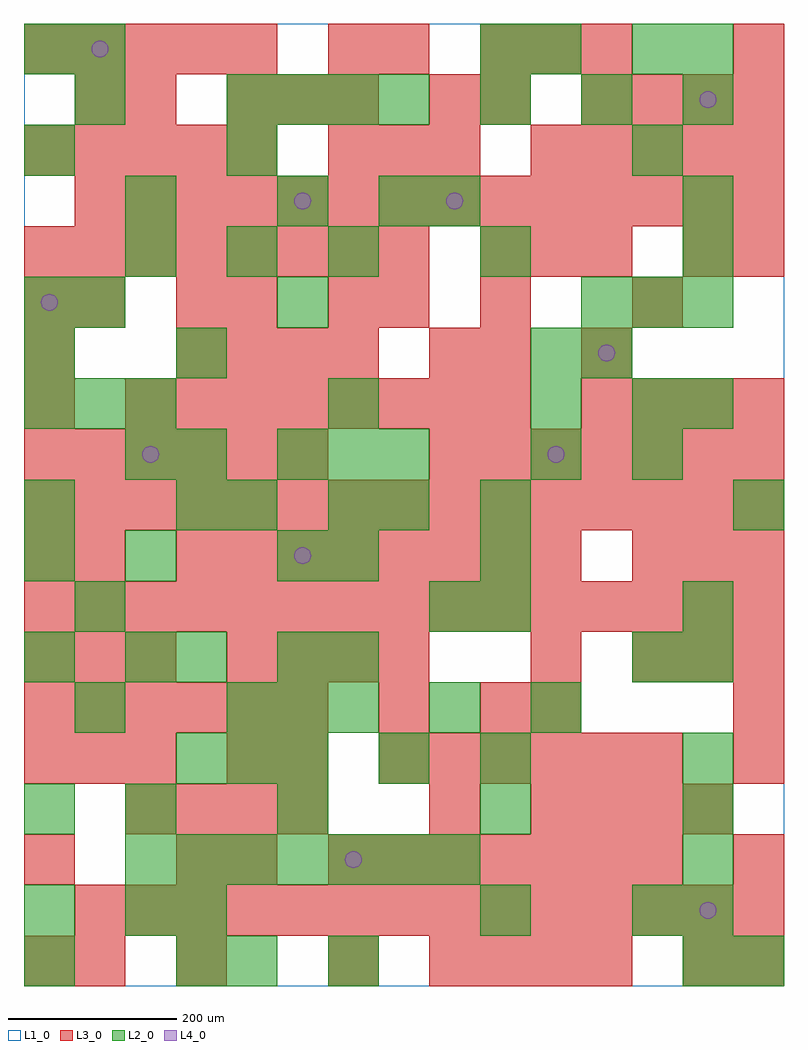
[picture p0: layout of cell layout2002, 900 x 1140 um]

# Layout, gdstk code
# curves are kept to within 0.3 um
import gdstk
lib = gdstk.Library(unit=1e-6, precision=1e-09)
def R(c, l, rs):  # rectangles x0, y0, x1, y1
    for r in rs: c.add(gdstk.rectangle(r[:2], r[2:], *l))
def A(c, l, x, y, w, h, nx, ny, dx, dy):  # array of equal rectangles
    R(c, l, [(x+i*dx, y+j*dy, x+i*dx+w, y+j*dy+h) for i in range(nx) for j in range(ny)])
def P(c, l, *ps):  # polygons
    for p in ps: c.add(gdstk.Polygon(p, *l))
L1_0 = (1, 0)
L2_0 = (2, 0)
L3_0 = (3, 0)
L4_0 = (4, 0)

layout2002 = lib.new_cell('layout2002')
R(layout2002, L1_0, [(0,0,900,1140)])
A(layout2002, L2_0, 780, 0, 60, 60, 1, 3, 0, 60)
A(layout2002, L2_0, 540, 60, 60, 60, 1, 3, 0, 180)
A(layout2002, L2_0, 120, 120, 60, 60, 7, 1, 60, 0)
A(layout2002, L2_0, 300, 180, 60, 60, 3, 1, 240, 0)
A(layout2002, L2_0, 180, 240, 60, 60, 3, 1, 60, 0)
A(layout2002, L2_0, 240, 300, 60, 60, 3, 1, 60, 0)
A(layout2002, L2_0, 120, 360, 60, 60, 1, 3, 0, 120)
A(layout2002, L2_0, 300, 600, 60, 60, 3, 1, 60, 0)
A(layout2002, L2_0, 600, 600, 60, 60, 1, 3, 0, 60)
A(layout2002, L2_0, 0, 660, 60, 60, 3, 1, 60, 0)
A(layout2002, L2_0, 660, 780, 60, 60, 3, 1, 60, 0)
A(layout2002, L2_0, 120, 840, 60, 60, 3, 1, 120, 0)
A(layout2002, L2_0, 240, 1020, 60, 60, 4, 1, 60, 0)
A(layout2002, L2_0, 540, 1020, 60, 60, 3, 1, 120, 0)
R(layout2002, L2_0, [(0,0,60,60), (180,0,240,60), (240,0,300,60), (360,0,420,60), (840,0,900,60), (0,60,60,120), (120,60,180,120), (180,60,240,120), (720,60,780,120), (0,180,60,240), (120,180,180,240), (420,240,480,300), (780,240,840,300), (60,300,120,360), (480,300,540,360), (600,300,660,360), (0,360,60,420), (180,360,240,420), (300,360,360,420), (360,360,420,420), (720,360,780,420), (780,360,840,420), (60,420,120,480), (480,420,540,480), (780,420,840,480), (0,480,60,540), (300,480,360,540), (360,480,420,540), (540,480,600,540), (0,540,60,600), (180,540,240,600), (240,540,300,600), (360,540,420,600), (420,540,480,600), (540,540,600,600), (840,540,900,600), (180,600,240,660), (720,600,780,660), (360,660,420,720), (720,660,780,720), (780,660,840,720), (0,720,60,780), (180,720,240,780), (660,720,720,780), (0,780,60,840), (60,780,120,840), (300,780,360,840), (540,840,600,900), (780,840,840,900), (120,900,180,960), (300,900,360,960), (420,900,480,960), (480,900,540,960), (780,900,840,960), (0,960,60,1020), (240,960,300,1020), (720,960,780,1020), (60,1020,120,1080), (0,1080,60,1140), (60,1080,120,1140), (540,1080,600,1140), (600,1080,660,1140), (720,1080,780,1140), (780,1080,840,1140)])
A(layout2002, L3_0, 480, 0, 60, 60, 4, 1, 60, 0)
A(layout2002, L3_0, 840, 0, 60, 60, 1, 3, 0, 120)
A(layout2002, L3_0, 60, 60, 60, 60, 14, 2, 60, 840)
A(layout2002, L3_0, 360, 120, 60, 60, 7, 1, 60, 0)
A(layout2002, L3_0, 120, 180, 60, 60, 4, 1, 60, 0)
A(layout2002, L3_0, 600, 180, 60, 60, 4, 1, 60, 0)
A(layout2002, L3_0, 0, 240, 60, 60, 3, 2, 60, 120)
A(layout2002, L3_0, 420, 240, 60, 60, 6, 1, 60, 0)
A(layout2002, L3_0, 0, 300, 60, 60, 6, 2, 60, 300)
A(layout2002, L3_0, 240, 360, 60, 60, 4, 1, 60, 0)
A(layout2002, L3_0, 720, 360, 60, 60, 3, 2, 60, 120)
A(layout2002, L3_0, 0, 420, 60, 60, 15, 2, 60, 120)
A(layout2002, L3_0, 180, 480, 60, 60, 8, 1, 60, 0)
A(layout2002, L3_0, 480, 600, 60, 60, 7, 1, 60, 0)
A(layout2002, L3_0, 0, 660, 60, 60, 1, 3, 0, 60)
A(layout2002, L3_0, 120, 660, 60, 60, 8, 1, 60, 0)
A(layout2002, L3_0, 660, 660, 60, 60, 4, 2, 60, 360)
A(layout2002, L3_0, 180, 720, 60, 60, 4, 1, 60, 0)
A(layout2002, L3_0, 0, 840, 60, 60, 8, 1, 60, 0)
A(layout2002, L3_0, 540, 840, 60, 60, 3, 2, 60, 240)
A(layout2002, L3_0, 0, 960, 60, 60, 5, 2, 60, 120)
A(layout2002, L3_0, 360, 960, 60, 60, 3, 1, 60, 0)
A(layout2002, L3_0, 600, 960, 60, 60, 5, 1, 60, 0)
A(layout2002, L3_0, 240, 1020, 60, 60, 3, 1, 60, 0)
R(layout2002, L3_0, [(0,0,60,60), (60,0,120,60), (180,0,240,60), (360,0,420,60), (780,0,840,60), (0,120,60,180), (180,120,240,180), (240,120,300,180), (480,180,540,240), (240,240,300,300), (300,240,360,300), (420,300,480,360), (540,300,600,360), (600,300,660,360), (840,300,900,360), (600,360,660,420), (0,480,60,540), (60,480,120,540), (480,720,540,780), (540,720,600,780), (660,720,720,780), (60,780,120,840), (180,780,240,840), (240,780,300,840), (360,780,420,840), (420,780,480,840), (540,780,600,840), (720,780,780,840), (780,840,840,900), (840,840,900,900), (60,1020,120,1080), (120,1020,180,1080), (480,1020,540,1080), (540,1020,600,1080), (360,1080,420,1140), (420,1080,480,1140), (840,1080,900,1140)])
P(layout2002, L4_0, [(40,810),(39.239,813.827),(37.071,817.071),(33.827,819.239),(30,820),(26.173,819.239),(22.929,817.071),(20.761,813.827),(20,810),(20.761,806.173),(22.929,802.929),(26.173,800.761),(30,800),(33.827,800.761),(37.071,802.929),(39.239,806.173)],
  [(100,1110),(99.239,1113.827),(97.071,1117.071),(93.827,1119.239),(90,1120),(86.173,1119.239),(82.929,1117.071),(80.761,1113.827),(80,1110),(80.761,1106.173),(82.929,1102.929),(86.173,1100.761),(90,1100),(93.827,1100.761),(97.071,1102.929),(99.239,1106.173)],
  [(160,630),(159.239,633.827),(157.071,637.071),(153.827,639.239),(150,640),(146.173,639.239),(142.929,637.071),(140.761,633.827),(140,630),(140.761,626.173),(142.929,622.929),(146.173,620.761),(150,620),(153.827,620.761),(157.071,622.929),(159.239,626.173)],
  [(340,510),(339.239,513.827),(337.071,517.071),(333.827,519.239),(330,520),(326.173,519.239),(322.929,517.071),(320.761,513.827),(320,510),(320.761,506.173),(322.929,502.929),(326.173,500.761),(330,500),(333.827,500.761),(337.071,502.929),(339.239,506.173)],
  [(340,930),(339.239,933.827),(337.071,937.071),(333.827,939.239),(330,940),(326.173,939.239),(322.929,937.071),(320.761,933.827),(320,930),(320.761,926.173),(322.929,922.929),(326.173,920.761),(330,920),(333.827,920.761),(337.071,922.929),(339.239,926.173)],
  [(400,150),(399.239,153.827),(397.071,157.071),(393.827,159.239),(390,160),(386.173,159.239),(382.929,157.071),(380.761,153.827),(380,150),(380.761,146.173),(382.929,142.929),(386.173,140.761),(390,140),(393.827,140.761),(397.071,142.929),(399.239,146.173)],
  [(520,930),(519.239,933.827),(517.071,937.071),(513.827,939.239),(510,940),(506.173,939.239),(502.929,937.071),(500.761,933.827),(500,930),(500.761,926.173),(502.929,922.929),(506.173,920.761),(510,920),(513.827,920.761),(517.071,922.929),(519.239,926.173)],
  [(640,630),(639.239,633.827),(637.071,637.071),(633.827,639.239),(630,640),(626.173,639.239),(622.929,637.071),(620.761,633.827),(620,630),(620.761,626.173),(622.929,622.929),(626.173,620.761),(630,620),(633.827,620.761),(637.071,622.929),(639.239,626.173)],
  [(700,750),(699.239,753.827),(697.071,757.071),(693.827,759.239),(690,760),(686.173,759.239),(682.929,757.071),(680.761,753.827),(680,750),(680.761,746.173),(682.929,742.929),(686.173,740.761),(690,740),(693.827,740.761),(697.071,742.929),(699.239,746.173)],
  [(820,90),(819.239,93.827),(817.071,97.071),(813.827,99.239),(810,100),(806.173,99.239),(802.929,97.071),(800.761,93.827),(800,90),(800.761,86.173),(802.929,82.929),(806.173,80.761),(810,80),(813.827,80.761),(817.071,82.929),(819.239,86.173)],
  [(820,1050),(819.239,1053.827),(817.071,1057.071),(813.827,1059.239),(810,1060),(806.173,1059.239),(802.929,1057.071),(800.761,1053.827),(800,1050),(800.761,1046.173),(802.929,1042.929),(806.173,1040.761),(810,1040),(813.827,1040.761),(817.071,1042.929),(819.239,1046.173)])

lib.write_gds('layout2002.gds')
